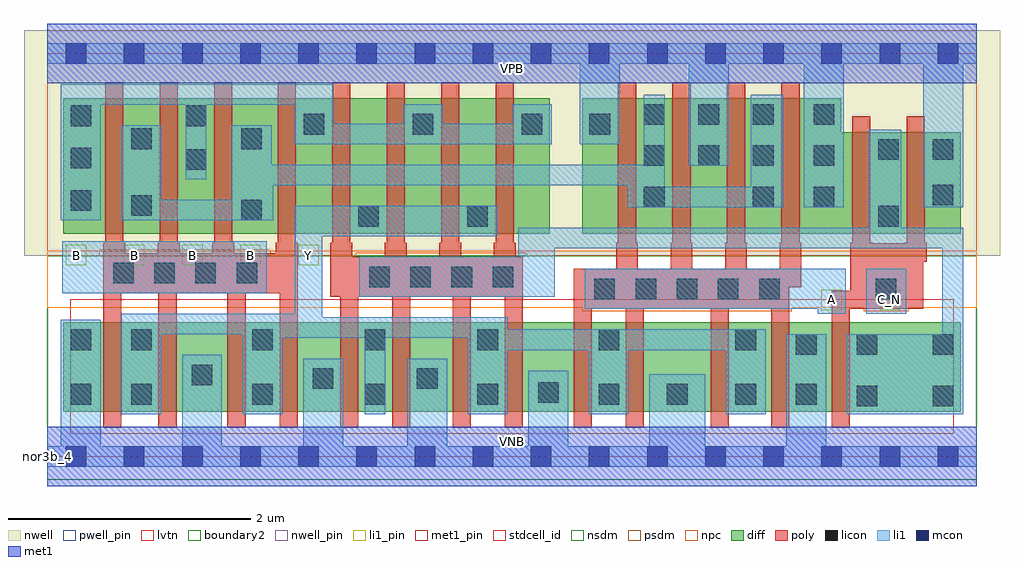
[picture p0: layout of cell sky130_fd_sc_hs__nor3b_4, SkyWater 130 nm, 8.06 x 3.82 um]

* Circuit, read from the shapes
.subckt sky130_fd_sc_hs__nor3b_4 A B C_N VGND VNB VPB VPWR Y
XM1 Y B VGND VNB sky130_fd_pr__nfet_01v8_lvt w=0.74 l=0.15 m=4
XM2 Y n1 VGND VNB sky130_fd_pr__nfet_01v8_lvt w=0.74 l=0.15 m=4
XM3 Y A VGND VNB sky130_fd_pr__nfet_01v8_lvt w=0.74 l=0.15 m=4
XM4 n1 C_N VGND VNB sky130_fd_pr__nfet_01v8_lvt w=0.74 l=0.15
XM5 n2 B n3 VPB sky130_fd_pr__pfet_01v8 w=1.12 l=0.15 m=4
XM6 Y n1 n3 VPB sky130_fd_pr__pfet_01v8 w=1.12 l=0.15 m=4
XM7 n2 A VPWR VPB sky130_fd_pr__pfet_01v8 w=1.12 l=0.15 m=4
XM8 n1 C_N VPWR VPB sky130_fd_pr__pfet_01v8 w=0.84 l=0.15 m=2
.ends

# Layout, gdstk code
import gdstk
lib = gdstk.Library(unit=1e-6, precision=1e-09)
def R(c, l, rs):  # rectangles x0, y0, x1, y1
    for r in rs: c.add(gdstk.rectangle(r[:2], r[2:], *l))
def A(c, l, x, y, w, h, nx, ny, dx, dy):  # array of equal rectangles
    R(c, l, [(x+i*dx, y+j*dy, x+i*dx+w, y+j*dy+h) for i in range(nx) for j in range(ny)])
def P(c, l, *ps):  # polygons
    for p in ps: c.add(gdstk.Polygon(p, *l))
nwell_pin = (64, 16)
nwell = (64, 20)
diff = (65, 20)
poly = (66, 20)
licon = (66, 44)
li1_pin = (67, 16)
li1 = (67, 20)
mcon = (67, 44)
met1_pin = (68, 16)
met1 = (68, 20)
stdcell_id = (81, 4)
nsdm = (93, 44)
psdm = (94, 20)
npc = (95, 20)
pwell_pin = (122, 16)
lvtn = (125, 44)
boundary2 = (236, 0)

sky130_fd_sc_hs__nor3b_4 = lib.new_cell('sky130_fd_sc_hs__nor3b_4')
R(sky130_fd_sc_hs__nor3b_4, nwell_pin, [(0,3.085,7.68,3.33)])
R(sky130_fd_sc_hs__nor3b_4, nwell, [(-0.19,1.66,7.87,3.52)])
R(sky130_fd_sc_hs__nor3b_4, diff, [(0.135,0.37,7.545,1.11), (0.135,1.84,4.15,2.96)])
P(sky130_fd_sc_hs__nor3b_4, diff, [(7.545,2.68),(6.56,2.68),(6.56,2.96),(4.42,2.96),(4.42,1.84),(7.545,1.84)])
P(sky130_fd_sc_hs__nor3b_4, poly, [(2.07,1.765),(2.055,1.765),(2.055,3.09),(1.905,3.09),(1.905,1.765),(1.89,1.765),(1.89,1.68),(1.545,1.68),(1.545,1.765),(1.53,1.765),(1.53,3.09),(1.38,3.09),(1.38,1.765),(1.365,1.765),(1.365,1.68),(1.095,1.68),(1.095,1.765),(1.08,1.765),(1.08,3.09),(0.93,3.09),(0.93,1.765),(0.915,1.765),(0.915,1.68),(0.645,1.68),(0.645,1.765),(0.63,1.765),(0.63,3.09),(0.48,3.09),(0.48,1.765),(0.465,1.765),(0.465,0.24),(0.615,0.24),(0.615,1.35),(0.92,1.35),(0.92,0.24),(1.07,0.24),(1.07,1.35),(1.49,1.35),(1.49,0.24),(1.64,0.24),(1.64,1.35),(1.92,1.35),(1.92,0.24),(2.07,0.24)],
  [(3.93,1.65),(3.87,1.65),(3.87,1.765),(3.855,1.765),(3.855,3.09),(3.705,3.09),(3.705,1.765),(3.69,1.765),(3.69,1.65),(3.42,1.65),(3.42,1.765),(3.405,1.765),(3.405,3.09),(3.255,3.09),(3.255,1.765),(3.24,1.765),(3.24,1.65),(2.97,1.65),(2.97,1.765),(2.955,1.765),(2.955,3.09),(2.805,3.09),(2.805,1.765),(2.79,1.765),(2.79,1.65),(2.52,1.65),(2.52,1.765),(2.505,1.765),(2.505,3.09),(2.355,3.09),(2.355,1.765),(2.34,1.765),(2.34,1.32),(2.42,1.32),(2.42,0.24),(2.57,0.24),(2.57,1.32),(2.85,1.32),(2.85,0.24),(3,0.24),(3,1.32),(3.35,1.32),(3.35,0.24),(3.5,0.24),(3.5,1.32),(3.78,1.32),(3.78,0.24),(3.93,0.24)],
  [(6.23,1.765),(6.215,1.765),(6.215,3.09),(6.065,3.09),(6.065,1.765),(6.05,1.765),(6.05,1.55),(5.78,1.55),(5.78,1.765),(5.765,1.765),(5.765,3.09),(5.615,3.09),(5.615,1.765),(5.6,1.765),(5.6,1.55),(5.33,1.55),(5.33,1.765),(5.315,1.765),(5.315,3.09),(5.165,3.09),(5.165,1.765),(5.15,1.765),(5.15,1.55),(4.88,1.55),(4.88,1.765),(4.865,1.765),(4.865,3.09),(4.715,3.09),(4.715,1.765),(4.7,1.765),(4.7,1.55),(4.35,1.55),(4.35,0.24),(4.5,0.24),(4.5,1.22),(4.78,1.22),(4.78,0.24),(4.93,0.24),(4.93,1.22),(5.48,1.22),(5.48,0.24),(5.63,0.24),(5.63,1.22),(5.98,1.22),(5.98,0.24),(6.13,0.24),(6.13,1.4),(6.23,1.4)],
  [(7.265,1.765),(7.25,1.765),(7.25,2.81),(7.1,2.81),(7.1,1.765),(7.085,1.765),(7.085,1.76),(6.815,1.76),(6.815,1.765),(6.8,1.765),(6.8,2.81),(6.65,2.81),(6.65,1.765),(6.635,1.765),(6.635,1.37),(6.48,1.37),(6.48,0.24),(6.63,0.24),(6.63,1.22),(7.235,1.22),(7.235,1.61),(7.265,1.61)])
A(sky130_fd_sc_hs__nor3b_4, licon, 1.695, 0.43, 0.17, 0.17, 3, 2, 0.93, 0.45)
A(sky130_fd_sc_hs__nor3b_4, licon, 4.555, 0.43, 0.17, 0.17, 3, 1, 0.565, 0)
A(sky130_fd_sc_hs__nor3b_4, licon, 4.52, 1.3, 0.17, 0.17, 5, 1, 0.34, 0)
A(sky130_fd_sc_hs__nor3b_4, licon, 2.66, 1.4, 0.17, 0.17, 4, 1, 0.34, 0)
A(sky130_fd_sc_hs__nor3b_4, licon, 0.545, 1.43, 0.17, 0.17, 4, 1, 0.34, 0)
A(sky130_fd_sc_hs__nor3b_4, licon, 0.195, 2.03, 0.17, 0.17, 1, 3, 0, 0.35)
A(sky130_fd_sc_hs__nor3b_4, licon, 6.33, 2.06, 0.17, 0.17, 1, 3, 0, 0.34)
A(sky130_fd_sc_hs__nor3b_4, licon, 4.93, 2.4, 0.17, 0.17, 3, 2, 0.45, 0.34)
A(sky130_fd_sc_hs__nor3b_4, licon, 2.12, 2.66, 0.17, 0.17, 3, 1, 0.9, 0)
R(sky130_fd_sc_hs__nor3b_4, licon, [(6.685,0.415,6.855,0.585), (7.315,0.415,7.485,0.585), (0.195,0.43,0.365,0.6), (0.695,0.43,0.865,0.6), (6.185,0.43,6.355,0.6), (4.055,0.445,4.225,0.615), (2.195,0.56,2.365,0.73), (3.055,0.56,3.225,0.73), (1.195,0.59,1.365,0.76), (6.185,0.84,6.355,1.01), (6.685,0.84,6.855,1.01), (7.315,0.84,7.485,1.01), (0.195,0.88,0.365,1.05), (0.695,0.88,0.865,1.05), (4.555,0.88,4.725,1.05), (5.685,0.88,5.855,1.05), (6.845,1.3,7.015,1.47), (2.57,1.9,2.74,2.07), (3.47,1.9,3.64,2.07), (6.865,1.9,7.035,2.07), (1.605,1.95,1.775,2.12), (0.695,1.99,0.865,2.16), (4.93,2.06,5.1,2.23), (5.83,2.06,6,2.23), (7.315,2.075,7.485,2.245), (1.145,2.37,1.315,2.54), (6.865,2.45,7.035,2.62), (7.315,2.45,7.485,2.62), (0.695,2.54,0.865,2.71), (1.605,2.54,1.775,2.71), (4.48,2.66,4.65,2.83), (1.145,2.73,1.315,2.9)])
A(sky130_fd_sc_hs__nor3b_4, li1_pin, 0.155, 1.58, 0.17, 0.17, 5, 1, 0.48, 0)
R(sky130_fd_sc_hs__nor3b_4, li1_pin, [(6.395,1.21,6.565,1.38), (6.875,1.21,7.045,1.38)])
R(sky130_fd_sc_hs__nor3b_4, li1, [(6.765,1.18,7.095,1.55), (0.125,1.35,1.815,1.78)])
P(sky130_fd_sc_hs__nor3b_4, li1, [(0,-0.085),(0,0.085),(0.115,0.085),(0.115,1.13),(0.445,1.13),(0.445,0.085),(1.115,0.085),(1.115,0.84),(1.445,0.84),(1.445,0.085),(2.115,0.085),(2.115,0.81),(2.445,0.81),(2.445,0.085),(2.975,0.085),(2.975,0.81),(3.305,0.81),(3.305,0.085),(3.975,0.085),(3.975,0.71),(4.305,0.71),(4.305,0.085),(4.975,0.085),(4.975,0.68),(5.435,0.68),(5.435,0.085),(6.105,0.085),(6.105,1.01),(6.435,1.01),(6.435,0.085),(7.68,0.085),(7.68,-0.085)],
  [(0,3.245),(0,3.415),(7.68,3.415),(7.68,3.245),(7.565,3.245),(7.565,2.06),(7.235,2.06),(7.235,3.245),(6.58,3.245),(6.58,2.06),(6.25,2.06),(6.25,3.245),(5.63,3.245),(5.63,2.4),(5.3,2.4),(5.3,3.245),(4.73,3.245),(4.73,2.58),(4.4,2.58),(4.4,3.245)],
  [(2.045,2.07),(3.72,2.07),(3.72,1.82),(2.275,1.82),(2.275,1.15),(3.805,1.15),(3.805,1.05),(5.935,1.05),(5.935,0.35),(5.605,0.35),(5.605,0.88),(4.805,0.88),(4.805,0.35),(4.475,0.35),(4.475,0.88),(3.805,0.88),(3.805,0.35),(3.475,0.35),(3.475,0.98),(2.795,0.98),(2.795,0.35),(2.625,0.35),(2.625,0.98),(1.945,0.98),(1.945,0.35),(1.615,0.35),(1.615,1.01),(0.945,1.01),(0.945,0.35),(0.615,0.35),(0.615,1.18),(2.045,1.18)],
  [(4.44,1.22),(4.44,1.55),(6.595,1.55),(6.595,1.18),(6.365,1.18),(6.365,1.22)],
  [(6.605,0.35),(6.605,1.01),(7.395,1.01),(7.395,1.72),(4.195,1.72),(4.195,1.32),(2.58,1.32),(2.58,1.65),(3.89,1.65),(3.89,1.89),(6.785,1.89),(6.785,2.7),(7.055,2.7),(7.055,1.89),(7.565,1.89),(7.565,0.35)],
  [(6.08,2.99),(5.81,2.99),(5.81,2.23),(5.1,2.23),(5.1,2.99),(4.93,2.99),(4.93,2.41),(1.855,2.41),(1.855,2.735),(1.525,2.735),(1.525,2.12),(0.945,2.12),(0.945,2.735),(0.615,2.735),(0.615,1.95),(1.87,1.95),(1.87,2.24),(4.795,2.24),(4.795,2.06),(6.08,2.06)],
  [(4.17,2.91),(3.84,2.91),(3.84,2.75),(3.27,2.75),(3.27,2.91),(2.94,2.91),(2.94,2.75),(2.37,2.75),(2.37,3.075),(0.115,3.075),(0.115,1.95),(0.445,1.95),(0.445,2.905),(1.145,2.905),(1.145,2.29),(1.315,2.29),(1.315,2.905),(2.04,2.905),(2.04,2.58),(4.17,2.58)])
A(sky130_fd_sc_hs__nor3b_4, mcon, 0.155, -0.085, 0.17, 0.17, 16, 2, 0.48, 3.33)
R(sky130_fd_sc_hs__nor3b_4, met1_pin, [(0,0,7.68,0.245), (0,3.085,7.68,3.33)])
R(sky130_fd_sc_hs__nor3b_4, met1, [(0,-0.245,7.68,0.245), (0,3.085,7.68,3.575)])
R(sky130_fd_sc_hs__nor3b_4, stdcell_id, [(0,0,7.68,3.33)])
R(sky130_fd_sc_hs__nor3b_4, nsdm, [(0,-0.19,7.68,1.66)])
P(sky130_fd_sc_hs__nor3b_4, psdm, [(7.68,3.52),(0,3.52),(0,1.66),(0.435,1.66),(0.435,1.71),(1.845,1.71),(1.845,1.66),(2.55,1.66),(2.55,1.68),(3.96,1.68),(3.96,1.66),(7.68,1.66)])
P(sky130_fd_sc_hs__nor3b_4, npc, [(7.68,1.7),(0,1.7),(0,1.23),(4.42,1.23),(4.42,1.2),(6.15,1.2),(6.15,1.23),(6.745,1.23),(6.745,1.2),(7.115,1.2),(7.115,1.23),(7.68,1.23)])
R(sky130_fd_sc_hs__nor3b_4, pwell_pin, [(0,0,7.68,0.245)])
R(sky130_fd_sc_hs__nor3b_4, lvtn, [(0.19,0.19,7.49,1.3)])
R(sky130_fd_sc_hs__nor3b_4, boundary2, [(0,0,7.68,3.33)])
sky130_fd_sc_hs__nor3b_4.add(gdstk.Label('nor3b_4', (0,0), layer=83, texttype=44))
sky130_fd_sc_hs__nor3b_4.add(gdstk.Label('VNB', (3.84,0.123), layer=64, texttype=59))
sky130_fd_sc_hs__nor3b_4.add(gdstk.Label('VPB', (3.84,3.208), layer=64, texttype=5))
sky130_fd_sc_hs__nor3b_4.add(gdstk.Label('VPWR', (3.84,3.208), layer=68, texttype=5))
sky130_fd_sc_hs__nor3b_4.add(gdstk.Label('VGND', (3.84,0.123), layer=68, texttype=5))
sky130_fd_sc_hs__nor3b_4.add(gdstk.Label('Y', (2.16,1.665), layer=67, texttype=5))
sky130_fd_sc_hs__nor3b_4.add(gdstk.Label('A', (6.48,1.295), layer=67, texttype=5))
sky130_fd_sc_hs__nor3b_4.add(gdstk.Label('B', (0.24,1.665), layer=67, texttype=5))
sky130_fd_sc_hs__nor3b_4.add(gdstk.Label('B', (0.72,1.665), layer=67, texttype=5))
sky130_fd_sc_hs__nor3b_4.add(gdstk.Label('B', (1.2,1.665), layer=67, texttype=5))
sky130_fd_sc_hs__nor3b_4.add(gdstk.Label('B', (1.68,1.665), layer=67, texttype=5))
sky130_fd_sc_hs__nor3b_4.add(gdstk.Label('C_N', (6.96,1.295), layer=67, texttype=5))

lib.write_gds('sky130_fd_sc_hs__nor3b_4.gds')
